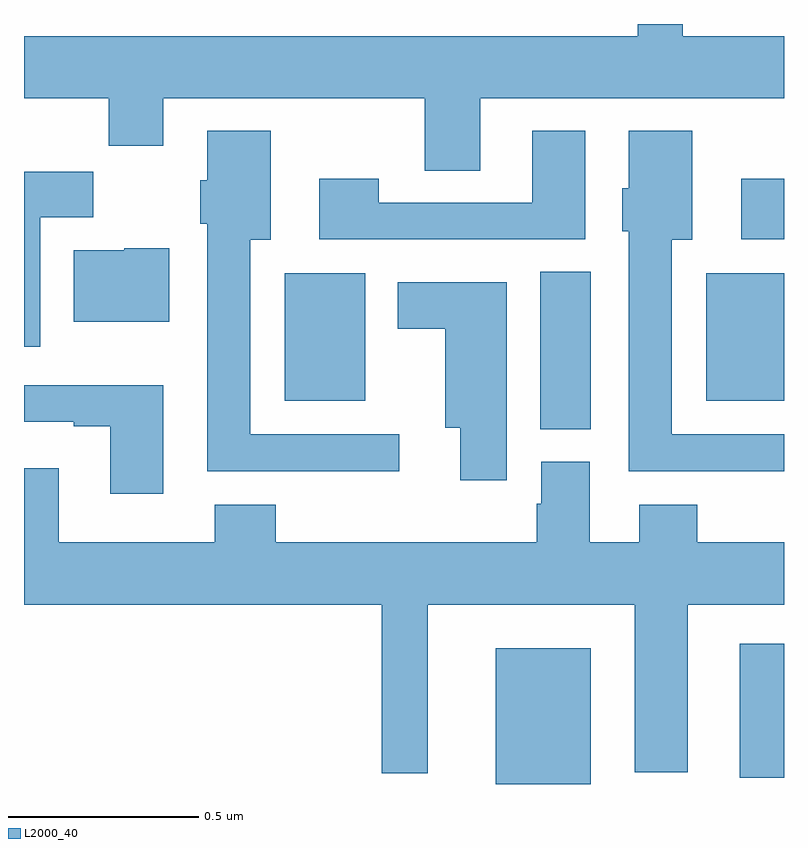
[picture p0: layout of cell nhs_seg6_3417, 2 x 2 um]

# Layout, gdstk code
import gdstk
lib = gdstk.Library(unit=1e-6, precision=1e-09)
def R(c, l, rs):  # rectangles x0, y0, x1, y1
    for r in rs: c.add(gdstk.rectangle(r[:2], r[2:], *l))
def P(c, l, *ps):  # polygons
    for p in ps: c.add(gdstk.Polygon(p, *l))
L2000_40 = (2000, 40)

nhs_seg6_3417 = lib.new_cell('nhs_seg6_3417')
R(nhs_seg6_3417, L2000_40, [(157.241,977.5,157.492,977.857), (157.883,977.516,158,977.869), (157.358,978.433,157.492,978.848), (156.686,978.509,156.898,978.844), (157.796,978.509,158,978.844), (157.887,978.933,158,979.093)])
P(nhs_seg6_3417, L2000_40, [(157.201,979.304),(158,979.304),(158,979.468),(157.733,979.468),(157.733,979.5),(157.615,979.5),(157.615,979.468),(156,979.468),(156,979.304),(156.223,979.304),(156.223,979.18),(156.367,979.18),(156.367,979.304),(157.054,979.304),(157.054,979.114),(157.201,979.114)],
  [(156.988,978.42),(156.595,978.42),(156.595,978.932),(156.649,978.932),(156.649,979.219),(156.482,979.219),(156.482,979.089),(156.464,979.089),(156.464,978.975),(156.482,978.975),(156.482,978.323),(156.988,978.323)],
  [(157.477,979.219),(157.337,979.219),(157.337,979.029),(156.933,979.029),(156.933,979.093),(156.777,979.093),(156.777,978.933),(157.477,978.933)],
  [(158,978.42),(157.705,978.42),(157.705,978.932),(157.759,978.932),(157.759,979.219),(157.592,979.219),(157.592,979.068),(157.574,979.068),(157.574,978.954),(157.592,978.954),(157.592,978.323),(158,978.323)],
  [(156.043,978.992),(156.182,978.992),(156.182,979.111),(156,979.111),(156,978.651),(156.043,978.651)],
  [(156.382,978.91),(156.264,978.91),(156.264,978.904),(156.131,978.904),(156.131,978.716),(156.382,978.716)],
  [(157.27,978.82),(156.983,978.82),(156.983,978.698),(157.109,978.698),(157.109,978.437),(157.148,978.437),(157.148,978.3),(157.27,978.3)],
  [(156.367,978.55),(156.135,978.55),(156.135,978.549),(156,978.549),(156,978.453),(156.131,978.453),(156.131,978.441),(156.227,978.441),(156.227,978.264),(156.367,978.264)],
  [(157.063,977.972),(157.607,977.972),(157.607,977.531),(157.747,977.531),(157.747,977.972),(158,977.972),(158,978.136),(157.772,978.136),(157.772,978.235),(157.619,978.235),(157.619,978.136),(157.489,978.136),(157.489,978.348),(157.361,978.348),(157.361,978.237),(157.349,978.237),(157.349,978.136),(156.662,978.136),(156.662,978.235),(156.502,978.235),(156.502,978.136),(156.091,978.136),(156.091,978.331),(156,978.331),(156,977.972),(156.942,977.972),(156.942,977.528),(157.063,977.528)])

lib.write_gds('nhs_seg6_3417.gds')
